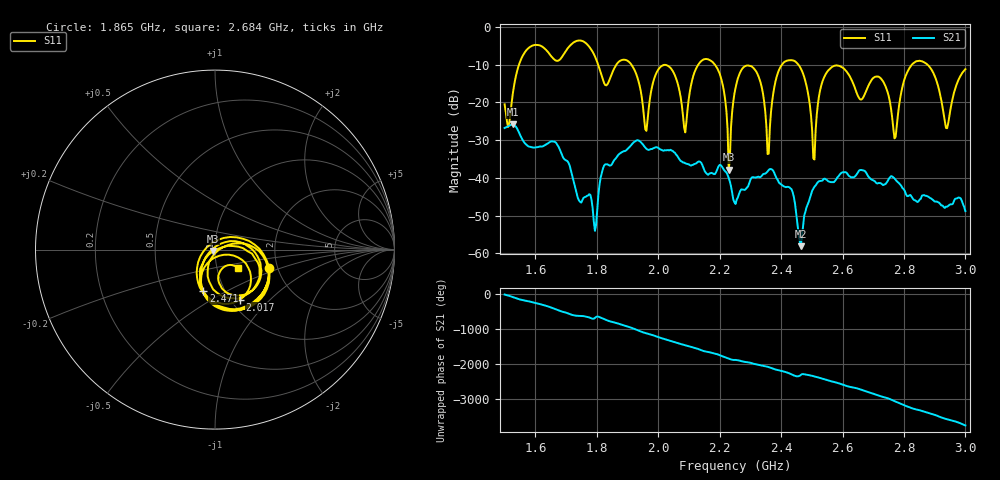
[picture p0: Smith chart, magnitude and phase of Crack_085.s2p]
# HZ S RI R 50
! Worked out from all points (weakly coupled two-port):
!   404 points, 1.5 GHz to 3 GHz, reference 50 ohm
!   highest |S21| = -25.86 dB at 1.526 GHz (marker M1); lowest = -58.1 dB at 2.464 GHz (marker M2)
!   lowest |S11| = -37.8 dB at 2.23 GHz (marker M3), VSWR 1.03, Z = 49 - j0.794 ohm
!   |S11| at or under -10 dB: 1.913 GHz to 2.13 GHz (217.7 MHz wide, 10.8 % of centre); 2.185 GHz to 2.403 GHz (218.6 MHz wide, 9.53 % of centre); 2.456 GHz to 2.826 GHz (369.7 MHz wide, 14 % of centre) (the widest 3 of 6)
!   S12 and S22 are empty: the file has one direction only
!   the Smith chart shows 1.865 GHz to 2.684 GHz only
!   S11 on the Smith chart (normalised r, x): 1.865 GHz: 1.81, -0.42; 2.017 GHz: 1.10, -0.68; 2.471 GHz: 0.79, -0.39; 2.684 GHz: 1.26, -0.27
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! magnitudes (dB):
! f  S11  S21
! 1.5 GHz  -20.5  -26.8
! 1.526 GHz  -18.0  -25.9
! 1.753 GHz  -3.7  -45.9
! 1.865 GHz  -9.9  -34.5
! 1.962 GHz  -27.6  -32.3
! 2.002 GHz  -11.0  -32.2
! 2.017 GHz  -10.1  -32.8
! 2.088 GHz  -28.0  -36.2
! 2.181 GHz  -9.7  -39.0
! 2.23 GHz  -37.8  -40.0
! 2.252 GHz  -16.1  -46.9
! 2.315 GHz  -11.4  -40.0
! 2.36 GHz  -33.6  -37.9
! 2.464 GHz  -11.0  -58.1
! 2.471 GHz  -12.4  -53.0
! 2.501 GHz  -27.6  -43.4
! 2.561 GHz  -10.9  -41.1
! 2.684 GHz  -15.7  -39.6
! 2.751 GHz  -18.4  -40.3
! 2.862 GHz  -9.2  -44.6
! 2.94 GHz  -26.9  -47.7
! 3 GHz  -11.2  -48.8
